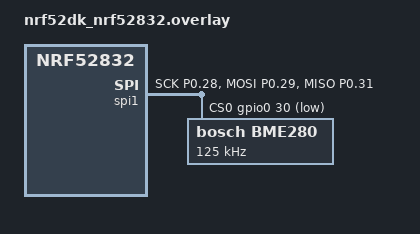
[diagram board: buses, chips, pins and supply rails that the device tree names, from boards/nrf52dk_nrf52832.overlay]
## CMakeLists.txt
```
cmake_minimum_required(VERSION 3.20.0)
find_package(Zephyr REQUIRED HINTS $ENV{ZEPHYR_BASE})

project(my_adc)

target_sources(app PRIVATE src/main.c)
```

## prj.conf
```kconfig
#
# Copyright (c) 2024 Nordic Semiconductor
#
# SPDX-License-Identifier: LicenseRef-Nordic-5-Clause
#

CONFIG_LOG=y

CONFIG_CBPRINTF_FP_SUPPORT=y
CONFIG_RESET_ON_FATAL_ERROR=n

# STEP 1.1 - Enable Kconfigs for SPI and GPIO
CONFIG_GPIO=y
CONFIG_SPI=y
```

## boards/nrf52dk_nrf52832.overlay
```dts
/* STEP 2.1 - Add the SPI peripheral to spi1 */
&i2c0 {	status = "disabled";};
&spi0 {	status = "disabled";};
&i2c1 {	status = "disabled";};
	
&spi1 {
    compatible = "nordic,nrf-spi"; //using SPI as per ERRATA 58
	status = "okay";
	pinctrl-0 = <&spi1_default>;
	pinctrl-1 = <&spi1_sleep>;
	pinctrl-names = "default", "sleep";
	cs-gpios = <&gpio0 30 GPIO_ACTIVE_LOW>;
	bme280@0 {
		compatible = "bosch,bme280";
		reg = <0>;
		spi-max-frequency = <125000>; 
	};
};

/* STEP 2.2 - Change the pin configuration */
&pinctrl {
	spi1_default: spi1_default {
		group1 {
				psels = <NRF_PSEL(SPIM_SCK, 0, 28)>,
						<NRF_PSEL(SPIM_MOSI, 0, 29)>,
						<NRF_PSEL(SPIM_MISO, 0, 31)>;
		};
	};

	spi1_sleep: spi1_sleep {
		group1 {
				psels = <NRF_PSEL(SPIM_SCK, 0, 28)>,
						<NRF_PSEL(SPIM_MOSI, 0, 29)>,
						<NRF_PSEL(SPIM_MISO, 0, 31)>;
				low-power-enable;
		};
	};
};
```

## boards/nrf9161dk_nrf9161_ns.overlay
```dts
/* STEP 2.1 - Add the SPI peripheral to spi1 */
&i2c0 {	status = "disabled";};
&spi0 {	status = "disabled";};
&i2c1 {	status = "disabled";};
&uart1 { status = "disabled";};
	
&spi1 {
    compatible = "nordic,nrf-spim";
	status = "okay";
	pinctrl-0 = <&spi1_default>;
	pinctrl-1 = <&spi1_sleep>;
	pinctrl-names = "default", "sleep";
	cs-gpios = <&gpio0 18 GPIO_ACTIVE_LOW>;
	bme280@0 {
		compatible = "bosch,bme280";
		reg = <0>;
		spi-max-frequency = <125000>; 
	};
};

/* STEP 2.2 - Change the pin configuration */
&pinctrl {
	spi1_default: spi1_default {
		group1 {
				psels = <NRF_PSEL(SPIM_SCK, 0, 16)>,
						<NRF_PSEL(SPIM_MOSI, 0, 17)>,
						<NRF_PSEL(SPIM_MISO, 0, 19)>;
		};
	};

	spi1_sleep: spi1_sleep {
		group1 {
				psels = <NRF_PSEL(SPIM_SCK, 0, 16)>,
						<NRF_PSEL(SPIM_MOSI, 0, 17)>,
						<NRF_PSEL(SPIM_MISO, 0, 19)>;
				low-power-enable;
		};
	};
};
```

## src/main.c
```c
/*
 * Copyright (c) 2024 Nordic Semiconductor ASA
 *
 * SPDX-License-Identifier: Apache-2.0
 */

#include <zephyr/kernel.h>
#include <zephyr/logging/log.h>

/* STEP 1.2 - Include the header files for SPI, GPIO and devicetree */
#include <zephyr/device.h>
#include <zephyr/devicetree.h>
#include <zephyr/drivers/gpio.h>
#include <zephyr/drivers/spi.h>

LOG_MODULE_REGISTER(Lesson5_Exercise1, LOG_LEVEL_INF);

#define DELAY_REG 		10
#define DELAY_PARAM		50
#define DELAY_VALUES	1000
#define LED0	13

#define CTRLHUM 		0xF2
#define CTRLMEAS		0xF4
#define CALIB00			0x88
#define CALIB26			0xE1
#define ID				0xD0
#define PRESSMSB		0xF7
#define PRESSLSB		0xF8
#define PRESSXLSB		0xF9
#define TEMPMSB			0xFA
#define TEMPLSB			0xFB
#define TEMPXLSB		0xFC
#define HUMMSB			0xFD
#define HUMLSB			0xFE
#define DUMMY			0xFF

const struct gpio_dt_spec ledspec = GPIO_DT_SPEC_GET(DT_NODELABEL(led0), gpios);

/* STEP 3 - Retrieve the API-device structure */
#define SPIOP	SPI_WORD_SET(8) | SPI_TRANSFER_MSB
struct spi_dt_spec spispec = SPI_DT_SPEC_GET(DT_NODELABEL(bme280), SPIOP, 0);

/* Data structure to store BME280 data */
struct bme280_data {
	/* Compensation parameters */
	uint16_t dig_t1;
	int16_t dig_t2;
	int16_t dig_t3;
	uint16_t dig_p1;
	int16_t dig_p2;
	int16_t dig_p3;
	int16_t dig_p4;
	int16_t dig_p5;
	int16_t dig_p6;
	int16_t dig_p7;
	int16_t dig_p8;
	int16_t dig_p9;
	uint8_t dig_h1;
	int16_t dig_h2;
	uint8_t dig_h3;
	int16_t dig_h4;
	int16_t dig_h5;
	int8_t dig_h6;

	/* Compensated values */
	int32_t comp_temp;
	uint32_t comp_press;
	uint32_t comp_humidity;

	/* Carryover between temperature and pressure/humidity compensation */
	int32_t t_fine;

	uint8_t chip_id;
} bmedata;

static int bme_read_reg(uint8_t reg, uint8_t *data, uint8_t size)
{
	int err;

	/* STEP 4.1 - Set the transmit and receive buffers */
	uint8_t tx_buffer = reg;
	struct spi_buf tx_spi_buf			= {.buf = (void *)&tx_buffer, .len = 1};
	struct spi_buf_set tx_spi_buf_set 	= {.buffers = &tx_spi_buf, .count = 1};
	struct spi_buf rx_spi_bufs 			= {.buf = data, .len = size};
	struct spi_buf_set rx_spi_buf_set	= {.buffers = &rx_spi_bufs, .count = 1};

	/* STEP 4.2 - Call the transceive function */
	err = spi_transceive_dt(&spispec, &tx_spi_buf_set, &rx_spi_buf_set);
	if (err < 0) {
		LOG_ERR("spi_transceive_dt() failed, err: %d", err);
		return err;
	}

	return 0;
}

static int bme_write_reg(uint8_t reg, uint8_t value)
{
	int err;

	/* STEP 5.1 - delcare a tx buffer having register address and data */
	uint8_t tx_buf[] = {(reg & 0x7F), value};	
	struct spi_buf 		tx_spi_buf 		= {.buf = tx_buf, .len = sizeof(tx_buf)};
	struct spi_buf_set 	tx_spi_buf_set	= {.buffers = &tx_spi_buf, .count = 1};

	/* STEP 5.2 - call the spi_write_dt function with SPISPEC to write buffers */
	err = spi_write_dt(&spispec, &tx_spi_buf_set);
	if (err < 0) {
		LOG_ERR("spi_write_dt() failed, err %d", err);
		return err;
	}

	return 0;
}

void bme_calibrationdata(void)
{
	/* Set data size of 3 as the first byte is dummy using bme_read_reg() */
	uint8_t values[3];
	uint8_t size = 3;	
	
	uint8_t regaddr;
	LOG_INF("-------------------------------------------------------------");
	LOG_INF("bme_read_calibrationdata: Reading from calibration registers:");
	/* STEP 6 - We are using bme_read_reg() to read required number of bytes from 
	respective register(s) and put values to construct compensation parameters */
	regaddr = CALIB00;
	bme_read_reg(regaddr, values, size);
	bmedata.dig_t1 = ((uint16_t)values[2])<<8 | values[1];
	LOG_INF("\tReg[0x%02x] %d Bytes read: Param T1 = %d", regaddr, size-1, bmedata.dig_t1);
	k_msleep(DELAY_PARAM);

	regaddr += 2;
	bme_read_reg(regaddr, values, size);
	bmedata.dig_t2 = ((uint16_t)values[2])<<8 | values[1];
	LOG_INF("\tReg[0x%02x] %d Bytes read: Param Param T2 = %d", regaddr, size-1, bmedata.dig_t2);
	k_msleep(DELAY_PARAM);
	
	regaddr += 2;
	bme_read_reg(regaddr, values, size);
	bmedata.dig_t3 = ((uint16_t)values[2])<<8 | values[1];
	LOG_INF("\tReg[0x%02x] %d Bytes read: Param T3 = %d", regaddr, size-1, bmedata.dig_t3);
	k_msleep(DELAY_PARAM);
	
	regaddr += 2;
	bme_read_reg(regaddr, values, size);
	bmedata.dig_p1 = ((uint16_t)values[2])<<8 | values[1];
	LOG_INF("\tReg[0x%02x] %d Bytes read: Param P1 = %d", regaddr, size-1, bmedata.dig_p1);
	k_msleep(DELAY_PARAM);

	regaddr += 2;
	bme_read_reg(regaddr, values, size);
	bmedata.dig_p2 = ((uint16_t)values[2])<<8 | values[1];
	LOG_INF("\tReg[0x%02x] %d Bytes read: Param P2 = %d", regaddr, size-1, bmedata.dig_p2);
	k_msleep(DELAY_PARAM);
	
	regaddr += 2;
	bme_read_reg(regaddr, values, size);
	bmedata.dig_p3 = ((uint16_t)values[2])<<8 | values[1];
	LOG_INF("\tReg[0x%02x] %d Bytes read: Param P3 = %d", regaddr, size-1, bmedata.dig_p3);
	k_msleep(DELAY_PARAM);
	
	regaddr += 2;
	bme_read_reg(regaddr, values, size);
	bmedata.dig_p4 = ((uint16_t)values[2])<<8 | values[1];
	LOG_INF("\tReg[0x%02x] %d Bytes read: Param P4 = %d", regaddr, size-1, bmedata.dig_p4);
	k_msleep(DELAY_PARAM);
	
	regaddr += 2;
	bme_read_reg(regaddr, values, size);
	bmedata.dig_p5 = ((uint16_t)values[2])<<8 | values[1];
	LOG_INF("\tReg[0x%02x] %d Bytes read: Param P5 = %d", regaddr, size-1, bmedata.dig_p5);
	k_msleep(DELAY_PARAM);
	
	regaddr += 2;
	bme_read_reg(regaddr, values, size);
	bmedata.dig_p6 = ((uint16_t)values[2])<<8 | values[1];
	LOG_INF("\tReg[0x%02x] %d Bytes read: Param P6 = %d", regaddr, size-1, bmedata.dig_p6);
	k_msleep(DELAY_PARAM);
	
	regaddr += 2;
	bme_read_reg(regaddr, values, size);
	bmedata.dig_p7 = ((uint16_t)values[2])<<8 | values[1];
	LOG_INF("\tReg[0x%02x] %d Bytes read: Param P7 = %d", regaddr, size-1, bmedata.dig_p7);
	k_msleep(DELAY_PARAM);
	
	regaddr += 2;
	bme_read_reg(regaddr, values, size);
	bmedata.dig_p8 = ((uint16_t)values[2])<<8 | values[1];
	LOG_INF("\tReg[0x%02x] %d Bytes read: Param P8 = %d", regaddr, size-1, bmedata.dig_p8);
	k_msleep(DELAY_PARAM);
	
	regaddr += 2;
	bme_read_reg(regaddr, values, size);
	bmedata.dig_p9 = ((uint16_t)values[2])<<8 | values[1];
	LOG_INF("\tReg[0x%02x] %d Bytes read: Param P9 = %d", regaddr, size-1, bmedata.dig_p9);
	k_msleep(DELAY_PARAM);
	
	regaddr += 3; size=2; /* only read one byte for H1 (see datasheet) */
	bme_read_reg(regaddr, values, size);
	bmedata.dig_h1 = (uint8_t)values[1];
	LOG_INF("\tReg[0x%02x] %d Bytes read: Param H1 = %d", regaddr, size-1, bmedata.dig_h1);
	k_msleep(DELAY_PARAM);
	
	regaddr += 64; size=3; /* read two bytes for H2 */
	bme_read_reg(regaddr, values, size);
	bmedata.dig_h2 = ((uint16_t)values[2])<<8 | values[1];
	LOG_INF("\tReg[0x%02x] %d Bytes read: Param H2 = %d", regaddr, size-1, bmedata.dig_h2);
	k_msleep(DELAY_PARAM);
	
	regaddr += 2; size=2; /* only read one byte for H3 */
	bme_read_reg(regaddr, values, size);
	bmedata.dig_h3 = (uint8_t)values[1];
	LOG_INF("\tReg[0x%02x] %d Bytes read: Param H3 = %d", regaddr, size-1, bmedata.dig_h3);
	k_msleep(DELAY_PARAM);
	
	regaddr += 1; size=3; /* read two bytes for H4 */
	bme_read_reg(regaddr, values, size);
	bmedata.dig_h4 = ((uint16_t)values[1])<<4 | (values[2] & 0x0F);
	LOG_INF("\tReg[0x%02x] %d Bytes read: Param H4 = %d", regaddr, size-1, bmedata.dig_h4);
	k_msleep(DELAY_PARAM);
	
	regaddr += 1;
	bme_read_reg(regaddr, values, size);
	bmedata.dig_h5 = ((uint16_t)values[2])<<4 | ((values[1] >> 4) & 0x0F);
	LOG_INF("\tReg[0x%02x] %d Bytes read: Param H5 = %d", regaddr, size-1, bmedata.dig_h5);
	k_msleep(DELAY_PARAM);
	
	regaddr += 2; size=2; /* only read one byte for H6 */
	bme_read_reg(regaddr, values, 2);
	bmedata.dig_h6 = (uint8_t)values[1];
	LOG_INF("\tReg[0x%02x] %d Bytes read: Param H6 = %d", regaddr, size-1, bmedata.dig_h6);
	k_msleep(DELAY_PARAM);
	LOG_INF("-------------------------------------------------------------");

}

int bme_print_registers(void)
{
	uint8_t buf[2];
	uint8_t size = 2;	/* size=2 as 1st byte is dummy using bme_read_reg()  */
	uint8_t data;
	int err;

	/* STEP 7 - Go through the following code and see how we are using
	bme_read_reg() to read and print different registers (1-byte) */

	/* Register addresses to read from (see the data sheet) */
	uint8_t reg_id = ID;
	uint8_t regs_morecalib[16];
	uint8_t regs_more[12];
	
	/* Set the register addresses */
	regs_morecalib[0] = CALIB26;
	for (uint8_t i=0; i<15; i++)
		regs_morecalib[i+1] = regs_morecalib[i] + 1;
	
	regs_more[0] = CTRLHUM;
	for (uint8_t i=0; i<11; i++)
		regs_more[i+1] = regs_more[i] + 1;

	/* Read 1 byte data from each register and print */
	LOG_INF("bme_print_registers: Reading all BME280 registers (one by one)");	
	err = bme_read_reg(reg_id, buf, size);
	if (err < 0)
	{
		LOG_INF("Error in bme_read_reg(), err: %d", err);
		return err;
	}
	
	data = buf[1];
	bmedata.chip_id = data;
	LOG_INF("\tReg[0x%02x]  =  0x%02x", reg_id, data);
	k_msleep(DELAY_REG);
	
	/* Reading from more calibration registers */
	for (uint8_t i = 0; i < sizeof(regs_morecalib); i++)
	{
		err = bme_read_reg(regs_morecalib[i], buf, size);
		if (err < 0)
		{
			LOG_INF("Error in bme_read_reg(), err: %d", err);
			return err;
		}
		data = buf[1];
		LOG_INF("\tReg[0x%02x]  =  0x%02x", regs_morecalib[i], data);
		k_msleep(DELAY_REG);
	}

	/* Reading from more registers */
	for (uint8_t i=0; i<sizeof(regs_more); i++)
	{
		err = bme_read_reg(regs_more[i], buf, size);
		if (err < 0)
		{
			LOG_INF("Error in bme_read_reg(), err: %d", err);
			return err;
		}
		data = buf[1];
		LOG_INF("\tReg[0x%02x]  =  0x%02x", regs_more[i], data);
		k_msleep(DELAY_REG);
	}
	LOG_INF("-------------------------------------------------------------");
	return 0;
}

/* STEP 8 - Go through the compensation functions and 
  note that they use the compensation parameters from 
  the bme280_data structure and then store back the compensated value */
static void bme280_compensate_temp(struct bme280_data *data, int32_t adc_temp)
{
	int32_t var1, var2;

	var1 = (((adc_temp >> 3) - ((int32_t)data->dig_t1 << 1)) *
		((int32_t)data->dig_t2)) >> 11;
	var2 = (((((adc_temp >> 4) - ((int32_t)data->dig_t1)) *
		  ((adc_temp >> 4) - ((int32_t)data->dig_t1))) >> 12) *
		((int32_t)data->dig_t3)) >> 14;

	data->t_fine = var1 + var2;
	data->comp_temp = (data->t_fine * 5 + 128) >> 8;
}

static void bme280_compensate_press(struct bme280_data *data, int32_t adc_press)
{
	int64_t var1, var2, p;

	var1 = ((int64_t)data->t_fine) - 128000;
	var2 = var1 * var1 * (int64_t)data->dig_p6;
	var2 = var2 + ((var1 * (int64_t)data->dig_p5) << 17);
	var2 = var2 + (((int64_t)data->dig_p4) << 35);
	var1 = ((var1 * var1 * (int64_t)data->dig_p3) >> 8) +
		((var1 * (int64_t)data->dig_p2) << 12);
	var1 = (((((int64_t)1) << 47) + var1)) * ((int64_t)data->dig_p1) >> 33;

	/* Avoid exception caused by division by zero */
	if (var1 == 0) {
		data->comp_press = 0U;
		return;
	}

	p = 1048576 - adc_press;
	p = (((p << 31) - var2) * 3125) / var1;
	var1 = (((int64_t)data->dig_p9) * (p >> 13) * (p >> 13)) >> 25;
	var2 = (((int64_t)data->dig_p8) * p) >> 19;
	p = ((p + var1 + var2) >> 8) + (((int64_t)data->dig_p7) << 4);

	data->comp_press = (uint32_t)p;
}

static void bme280_compensate_humidity(struct bme280_data *data, int32_t adc_humidity)
{
	int32_t h;

	h = (data->t_fine - ((int32_t)76800));
	h = ((((adc_humidity << 14) - (((int32_t)data->dig_h4) << 20) -
		(((int32_t)data->dig_h5) * h)) + ((int32_t)16384)) >> 15) *
		(((((((h * ((int32_t)data->dig_h6)) >> 10) * (((h *
		((int32_t)data->dig_h3)) >> 11) + ((int32_t)32768))) >> 10) +
		((int32_t)2097152)) * ((int32_t)data->dig_h2) + 8192) >> 14);
	h = (h - (((((h >> 15) * (h >> 15)) >> 7) *
		((int32_t)data->dig_h1)) >> 4));
	h = (h > 419430400 ? 419430400 : h);

	data->comp_humidity = (uint32_t)(h >> 12);
}

int bme_read_sample(void)
{

	int err;

	int32_t datap = 0, datat = 0, datah = 0;
	float pressure = 0.0, temperature = 0.0, humidity = 0.0;

	/* STEP 9.1 - Store register addresses to do burst read */
	uint8_t regs[] = {PRESSMSB, PRESSLSB, PRESSXLSB, \
					  TEMPMSB, TEMPLSB, TEMPXLSB, \
					  HUMMSB, HUMLSB, DUMMY};	//0xFF is dummy reg
	uint8_t readbuf[sizeof(regs)];

	/* STEP 9.2 - Set the transmit and receive buffers */
	struct spi_buf 		tx_spi_buf 			= {.buf = (void *)&regs, .len = sizeof(regs)};
	struct spi_buf_set 	tx_spi_buf_set		= {.buffers = &tx_spi_buf, .count = 1};
	struct spi_buf 		rx_spi_bufs			= {.buf = readbuf, .len = sizeof(regs)};
	struct spi_buf_set 	rx_spi_buffer_set	= {.buffers = &rx_spi_bufs, .count = 1};

	/* STEP 9.3 - Use spi_transceive() to transmit and receive at the same time */
	err = spi_transceive_dt(&spispec, &tx_spi_buf_set, &rx_spi_buffer_set);
	if (err < 0) {
		LOG_ERR("spi_transceive_dt() failed, err: %d", err);
		return err;
	}

	/* Put the data read from registers into actual order (see datasheet) */
	/* Uncompensated pressure value */
	datap = (readbuf[1] << 12) | (readbuf[2] << 4) | ((readbuf[3] >> 4) & 0x0F);
	/* Uncompensated temperature value */
	datat = (readbuf[4] << 12) | (readbuf[5] << 4) | ((readbuf[6] >> 4) & 0x0F);
	/* Uncompensated humidity value */
	datah = (readbuf[7] << 8)  | (readbuf[8]);

	/* Compensate values using given functions */
	bme280_compensate_press(&bmedata,datap);
	bme280_compensate_temp(&bmedata, datat);
	bme280_compensate_humidity(&bmedata, datah);

	/* Convert to proper format as per data sheet */
	pressure 	= (float)bmedata.comp_press/256.0;
	temperature = (float)bmedata.comp_temp/100.0;
	humidity 	= (float)bmedata.comp_humidity/1024.0;
	
	/* Print the uncompensated and compensated values */
	LOG_INF("\tTemperature: \t uncomp = %d C \t comp = %8.2f C", datat, temperature);
	LOG_INF("\tPressure:    \t uncomp = %d Pa \t comp = %8.2f Pa", datap, pressure);	
	LOG_INF("\tHumidity:    \t uncomp = %d RH \t comp = %8.2f %%RH", datah, humidity);

	return 0;
}

int main(void)
{
	int err;
	
	err = gpio_is_ready_dt(&ledspec);
	if (!err) {
		LOG_ERR("Error: GPIO device is not ready, err: %d", err);
		return 0;
	}

	/* STEP 10.1 - Check if SPI and GPIO devices are ready */
	err = spi_is_ready_dt(&spispec);
	if (!err) {
		LOG_ERR("Error: SPI device is not ready, err: %d", err);
		return 0;
	}

	gpio_pin_configure_dt(&ledspec, GPIO_OUTPUT_ACTIVE);
	
	/* STEP 10.2 - Read calibration data */
	bme_calibrationdata();

	/* STEP 10.3 - Write sampling parameters and read and print the registers */
	bme_write_reg(CTRLHUM, 0x04);
	bme_write_reg(CTRLMEAS, 0x93);	
	bme_print_registers();
	
	LOG_INF("Continuously read sensor samples, compensate, and display");

	while(1){
		/* STEP 10.4 - Continuously read sensor samples and toggle led */
		bme_read_sample();
		gpio_pin_toggle_dt(&ledspec);
		k_msleep(DELAY_VALUES);
	}

	return 0;
}
```
